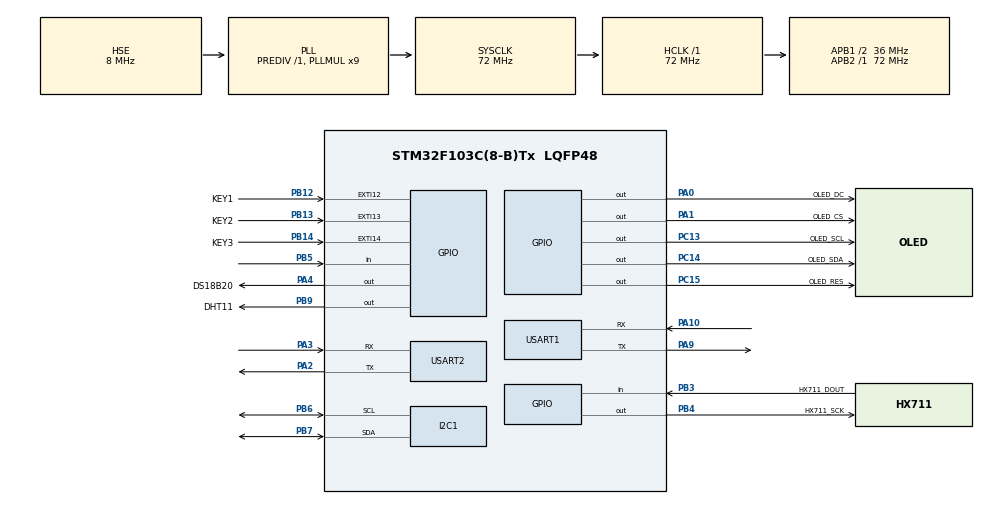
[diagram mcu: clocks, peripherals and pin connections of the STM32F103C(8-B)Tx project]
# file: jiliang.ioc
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Mcu.Family=STM32F1
Mcu.Name=STM32F103C(8-B)Tx
Mcu.Package=LQFP48
NVIC.EXTI15_10_IRQn=true\:0\:0\:false\:false\:true\:true\:true\:true
NVIC.PriorityGroup=NVIC_PRIORITYGROUP_4
NVIC.TIM1_UP_IRQn=true\:1\:0\:true\:false\:true\:true\:true\:true
NVIC.TIM2_IRQn=true\:0\:0\:false\:false\:true\:true\:true\:true
PA0-WKUP.GPIO_Label=OLED_DC
PA0-WKUP.GPIO_PuPd=GPIO_PULLUP
PA0-WKUP.GPIO_Speed=GPIO_SPEED_FREQ_HIGH
PA0-WKUP.PinState=GPIO_PIN_SET
PA0-WKUP.Signal=GPIO_Output
PA1.GPIO_Label=OLED_CS
PA1.GPIO_PuPd=GPIO_PULLUP
PA1.GPIO_Speed=GPIO_SPEED_FREQ_HIGH
PA1.PinState=GPIO_PIN_SET
PA1.Signal=GPIO_Output
PA10.Mode=Asynchronous
PA10.Signal=USART1_RX
PA13.Mode=Serial_Wire
PA13.Signal=SYS_JTMS-SWDIO
PA14.Mode=Serial_Wire
PA14.Signal=SYS_JTCK-SWCLK
PA2.Mode=Asynchronous
PA2.Signal=USART2_TX
PA3.Mode=Asynchronous
PA3.Signal=USART2_RX
PA4.GPIO_Label=DS18B20
PA4.GPIO_PuPd=GPIO_PULLUP
PA4.GPIO_Speed=GPIO_SPEED_FREQ_HIGH
PA4.PinState=GPIO_PIN_SET
PA4.Signal=GPIO_Output
PA9.Mode=Asynchronous
PA9.Signal=USART1_TX
PB12.GPIO_Label=KEY1
PB12.GPIO_ModeDefaultEXTI=GPIO_MODE_IT_FALLING
PB12.GPIO_PuPd=GPIO_PULLUP
PB12.Signal=GPXTI12
PB13.GPIO_Label=KEY2
PB13.GPIO_ModeDefaultEXTI=GPIO_MODE_IT_FALLING
PB13.GPIO_PuPd=GPIO_PULLUP
PB13.Signal=GPXTI13
PB14.GPIO_Label=KEY3
PB14.GPIO_ModeDefaultEXTI=GPIO_MODE_IT_FALLING
PB14.GPIO_PuPd=GPIO_PULLUP
PB14.Signal=GPXTI14
PB3.GPIO_Label=HX711_DOUT
PB3.GPIO_PuPd=GPIO_PULLUP
PB3.Signal=GPIO_Input
PB4.GPIO_Label=HX711_SCK
PB4.GPIO_ModeDefaultOutputPP=GPIO_MODE_OUTPUT_PP
PB4.GPIO_PuPd=GPIO_PULLUP
PB4.GPIO_Speed=GPIO_SPEED_FREQ_HIGH
PB4.PinState=GPIO_PIN_SET
PB4.Signal=GPIO_Output
PB5.Signal=GPIO_Input
PB6.Mode=I2C
PB6.Signal=I2C1_SCL
PB7.Mode=I2C
PB7.Signal=I2C1_SDA
PB9.GPIO_Label=DHT11
PB9.GPIO_PuPd=GPIO_PULLUP
PB9.GPIO_Speed=GPIO_SPEED_FREQ_HIGH
PB9.PinState=GPIO_PIN_SET
PB9.Signal=GPIO_Output
PC13-TAMPER-RTC.GPIO_Label=OLED_SCL
PC13-TAMPER-RTC.GPIO_PuPd=GPIO_PULLUP
PC13-TAMPER-RTC.GPIO_Speed=GPIO_SPEED_FREQ_HIGH
PC13-TAMPER-RTC.PinState=GPIO_PIN_SET
PC13-TAMPER-RTC.Signal=GPIO_Output
PC14-OSC32_IN.GPIO_Label=OLED_SDA
PC14-OSC32_IN.GPIO_ModeDefaultOutputPP=GPIO_MODE_OUTPUT_PP
PC14-OSC32_IN.GPIO_PuPd=GPIO_PULLUP
PC14-OSC32_IN.GPIO_Speed=GPIO_SPEED_FREQ_HIGH
PC14-OSC32_IN.PinState=GPIO_PIN_SET
PC14-OSC32_IN.Signal=GPIO_Output
PC15-OSC32_OUT.GPIO_Label=OLED_RES
PC15-OSC32_OUT.GPIO_ModeDefaultOutputPP=GPIO_MODE_OUTPUT_PP
PC15-OSC32_OUT.GPIO_PuPd=GPIO_PULLUP
PC15-OSC32_OUT.GPIO_Speed=GPIO_SPEED_FREQ_HIGH
PC15-OSC32_OUT.PinState=GPIO_PIN_SET
PC15-OSC32_OUT.Signal=GPIO_Output
PD0-OSC_IN.Mode=HSE-External-Oscillator
PD0-OSC_IN.Signal=RCC_OSC_IN
PD1-OSC_OUT.Mode=HSE-External-Oscillator
PD1-OSC_OUT.Signal=RCC_OSC_OUT
ProjectManager.HeapSize=0x200
ProjectManager.StackSize=0x400
ProjectManager.TargetToolchain=MDK-ARM V5
RCC.AHBFreq_Value=72000000
RCC.APB1CLKDivider=RCC_HCLK_DIV2
RCC.APB1Freq_Value=36000000
RCC.APB1TimFreq_Value=72000000
RCC.APB2Freq_Value=72000000
RCC.APB2TimFreq_Value=72000000
RCC.HCLKFreq_Value=72000000
RCC.PLLMUL=RCC_PLL_MUL9
RCC.PLLSourceVirtual=RCC_PLLSOURCE_HSE
RCC.SYSCLKFreq_VALUE=72000000
RCC.SYSCLKSource=RCC_SYSCLKSOURCE_PLLCLK
RCC.USBFreq_Value=72000000
TIM1.AutoReloadPreload=TIM_AUTORELOAD_PRELOAD_ENABLE
TIM1.Period=9999
TIM1.Prescaler=7199
TIM2.AutoReloadPreload=TIM_AUTORELOAD_PRELOAD_ENABLE
TIM2.Period=9999
TIM2.Prescaler=7199
USART1.VirtualMode=VM_ASYNC
USART2.VirtualMode=VM_ASYNC
VP_TIM1_VS_ClockSourceINT.Mode=Internal
VP_TIM2_VS_ClockSourceINT.Mode=Internal
board=custom

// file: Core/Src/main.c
/* USER CODE BEGIN Header */
/**
  ******************************************************************************
  * @file           : main.c
  * @brief          : Main program body
  ******************************************************************************
  * @attention
  *
  * Copyright (c) 2025 STMicroelectronics.
  * All rights reserved.
  *
  * This software is licensed under terms that can be found in the LICENSE file
  * in the root directory of this software component.
  * If no LICENSE file comes with this software, it is provided AS-IS.
  *
  ******************************************************************************
  */
/* USER CODE END Header */
#include "main.h"
#include "i2c.h"
#include "tim.h"
#include "usart.h"
#include "gpio.h"

/* USER CODE BEGIN Includes */
#include "oled.h"
#include "ds18b20.h"
#include "max30100.h"
#include "stdio.h"
#include "stdbool.h"
#include "dht11.h"
#include "hx711.h"
/* USER CODE END Includes */

/* USER CODE BEGIN PTD */
MAX30100_HandleTypeDef hmax;
/* USER CODE END PTD */

/* USER CODE BEGIN PD */
uint16_t ir_buffer[BUFFER_SIZE];
uint16_t red_buffer[BUFFER_SIZE];
uint32_t buffer_index = 0;
/* USER CODE END PD */

/* USER CODE BEGIN PM */
HX711 hx711;

static void ui_setting(void);

int timer_set=60;
int hr_set=120;
float num_d;
/* USER CODE END PM */

void SystemClock_Config(void);

int main(void)
{

  /* USER CODE BEGIN 1 */
	bool come_with = false;

	float weight = 0;
	uint16_t ir_value, red_value;
    uint8_t heart_rate = 0;
    uint8_t spo2 = 0;  // In a real application, you would calculate this
  /* USER CODE END 1 */

  /* MCU Configuration--------------------------------------------------------*/

  /* Reset of all peripherals, Initializes the Flash interface and the Systick. */
  HAL_Init();

  /* Configure the system clock */
  SystemClock_Config();

  /* Initialize all configured peripherals */
  MX_GPIO_Init();
  MX_I2C1_Init();
  MX_USART1_UART_Init();
  MX_USART2_UART_Init();
  MX_TIM1_Init();
  MX_TIM2_Init();
  /* USER CODE BEGIN 2 */
		OLED_Init();
	OLED_ColorTurn(0);
  OLED_DisplayTurn(0);
	OLED_Clear();
	//初始化HX711
	HX711_Init(&hx711, GPIOB, GPIO_PIN_4, GPIOB, GPIO_PIN_3);

	//HZ711去毛重
	HX711_Tare(&hx711, 10);

	HX711_SetScale(&hx711, 1000.0f);

	DS_Init();
	    if(MAX30100_Init(&hmax, &hi2c1, GPIOB, GPIO_PIN_5) != HAL_OK)
			{
					OLED_ShowString(0,0,(uint8_t*)"hello",8,1);
					OLED_Refresh();
			}

  /* USER CODE END 2 */

  /* Infinite loop */
  while (1)
  {

    /* USER CODE BEGIN 3 */
		if(HAL_GPIO_ReadPin(hmax.int_port, hmax.int_pin) == GPIO_PIN_RESET) {
        // Read FIFO until empty
        while(MAX30100_ReadFIFO(&hmax, &ir_value, &red_value) == HAL_OK) {
             // Apply moving average filter
             ir_buffer[buffer_index] = moving_average(&ir_value, FILTER_WINDOW, buffer_index);
//           red_buffer[buffer_index] = moving_average(red_value, FILTER_WINDOW, buffer_index);

             buffer_index++;
              if(buffer_index >= BUFFER_SIZE) {
                    // Calculate heart rate when buffer is full
                    heart_rate = CalculateHeartRate(ir_buffer, BUFFER_SIZE);

                    //calculate SpO2 here
                    // spo2 = calculate_spo2(ir_buffer, red_buffer, BUFFER_SIZE);

                    // Reset buffer
                    buffer_index = 0;

                    // Print results via UART
                    char msg[10];
                    sprintf(msg, "HR: %03d bpm\r\n", heart_rate);
										OLED_ShowString(0,0,(uint8_t*)msg,8,1);
								    OLED_Refresh();

										if((heart_rate>hr_set)&&(heart_rate<200))
										{
												xinlv_yichang();
											  uart1_send_messageXIN();
										}

										num_d = Get_DS_Temperature();
										sprintf(msg, "temp:%.2f", num_d);
										OLED_ShowString(0,10,(uint8_t*)msg,8,1);
										OLED_Refresh();

								    DHT11_READ_DATA();

										weight = HX711_GetWeight(&hx711, 10);
										if(weight>0)
										{
											sprintf(msg, "HEIGHT:%.2f", weight);
											OLED_ShowString(0,40,(uint8_t*)msg,8,1);
											OLED_Refresh();
											if(weight<10)
											{
													anshi_chiyao();
											}
										}

										if(send_messgae)
										{
											send_messgae = false;
											uart1_send_messageCALL();
										}

			if(botton ==RIGHT)
			{
				 botton = UNPRESS;
					OLED_Clear();
					ui_setting();

			}

                }
            }
      }

  }
  /* USER CODE END 3 */
}

void SystemClock_Config(void)
{
  RCC_OscInitTypeDef RCC_OscInitStruct = {0};
  RCC_ClkInitTypeDef RCC_ClkInitStruct = {0};

  /** Initializes the RCC Oscillators according to the specified parameters
  * in the RCC_OscInitTypeDef structure.
  */
  RCC_OscInitStruct.OscillatorType = RCC_OSCILLATORTYPE_HSE;
  RCC_OscInitStruct.HSEState = RCC_HSE_ON;
  RCC_OscInitStruct.HSEPredivValue = RCC_HSE_PREDIV_DIV1;
  RCC_OscInitStruct.HSIState = RCC_HSI_ON;
  RCC_OscInitStruct.PLL.PLLState = RCC_PLL_ON;
  RCC_OscInitStruct.PLL.PLLSource = RCC_PLLSOURCE_HSE;
  RCC_OscInitStruct.PLL.PLLMUL = RCC_PLL_MUL9;
  if (HAL_RCC_OscConfig(&RCC_OscInitStruct) != HAL_OK)
  {
    Error_Handler();
  }

  /** Initializes the CPU, AHB and APB buses clocks
  */
  RCC_ClkInitStruct.ClockType = RCC_CLOCKTYPE_HCLK|RCC_CLOCKTYPE_SYSCLK
                              |RCC_CLOCKTYPE_PCLK1|RCC_CLOCKTYPE_PCLK2;
  RCC_ClkInitStruct.SYSCLKSource = RCC_SYSCLKSOURCE_PLLCLK;
  RCC_ClkInitStruct.AHBCLKDivider = RCC_SYSCLK_DIV1;
  RCC_ClkInitStruct.APB1CLKDivider = RCC_HCLK_DIV2;
  RCC_ClkInitStruct.APB2CLKDivider = RCC_HCLK_DIV1;

  if (HAL_RCC_ClockConfig(&RCC_ClkInitStruct, FLASH_LATENCY_2) != HAL_OK)
  {
    Error_Handler();
  }
}

/* USER CODE BEGIN 4 */
static void ui_setting(void)
{
	  int position = 0;
	char timer_show[20],show_hr[20];

		while(1)
		{
				  sprintf(timer_show,"Timer:%02d",timer_set);
		  sprintf(show_hr,"HR:%03d",hr_set);
		OLED_ShowString(0,0,(uint8_t*)timer_show,8,position==0?0:1);
		OLED_ShowString(0,10,(uint8_t*)show_hr,8,position==1?0:1);
		OLED_ShowString(0,20,(uint8_t*)"Back",8,position==2?0:1);
		OLED_Refresh();
				if(botton==LEFT)
				{
						botton = UNPRESS;
										HAL_Delay(300);
					  switch(position)
						{
							case 0:
								timer_set--;
							  if(timer_set<0)
										timer_set=90;
								break;
							case 1:
								hr_set--;
							  if(hr_set<40)
									 hr_set=150;
							break;
						}
				}

				if(botton==MIDLE)
				{
						botton = UNPRESS;
										HAL_Delay(300);
					  switch(position)
						{
							case 0:
								timer_set++;
							  if(timer_set>90)
										timer_set=0;
								break;
							case 1:
								hr_set++;
							  if(hr_set>150)
									 hr_set=40;
							break;
							case 2:
									return;
							break;
						}
				}

				if(botton==RIGHT)
				{
											botton = UNPRESS;
										HAL_Delay(300);
						position++;
					  if(position>2)
							position=0;
				}
		}
}

/* USER CODE END 4 */

void Error_Handler(void)
{
  __disable_irq();
  while (1)
  {
  }
}
